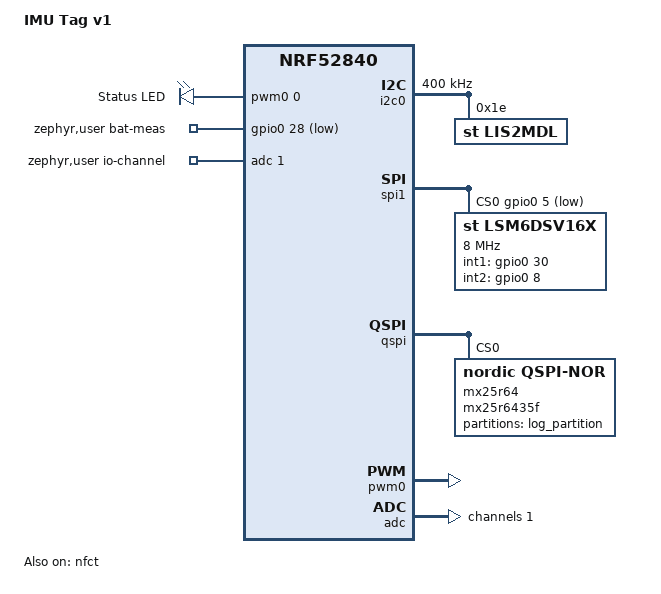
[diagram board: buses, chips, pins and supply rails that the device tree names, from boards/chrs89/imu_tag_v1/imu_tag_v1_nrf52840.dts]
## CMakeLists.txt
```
cmake_minimum_required(VERSION 3.20.0)

find_package(Zephyr REQUIRED HINTS $ENV{ZEPHYR_BASE})
project(imu_tag)

# Hidden float-to-double promotions cost software emulation on the M4F.
zephyr_compile_options(-Wdouble-promotion)

target_include_directories(app PRIVATE src)

target_sources(app PRIVATE
  src/main.c
  src/imu/imu_ext.c
  src/imu/imu_fifo.c
  src/imu/fifo_decode.c
  src/imu/mag_poll.c
  src/imu/imu_calibration.c
  src/imu/cal_fit.c
  src/fusion/madgwick.c
  src/fusion/orientation_service.c
  src/events/event_triggers.c
  src/pipeline/burst_processor.c
  src/pipeline/log_sink.c
  src/pipeline/fusion_sink.c
  src/app/app_wq.c
  src/app/app_config.c
  src/app/app_state.c
  src/status/stats.c
  src/dsp/dsp_accumulator.c
)
```

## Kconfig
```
menu "IMU Tag"

config IMU_TAG_DEBUG_COUNTERS
        bool "Log the acquisition counters every 5 s"
        default n
        help
          Bench instrument for the measurements page. The stats item logs
          the FIFO margin counters, the newest sample and the comparison
          of the two burst time anchors every 5 s.

endmenu

source "Kconfig.zephyr"
```

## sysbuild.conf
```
# Enables MCUboot bootloader for BLE OTA DFU.
SB_CONFIG_BOOTLOADER_MCUBOOT=y
```

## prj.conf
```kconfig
CONFIG_NCS_APPLICATION_BOOT_BANNER_STRING="IMU Tag showcase"

# Logging
CONFIG_LOG=y
CONFIG_LOG_MODE_DEFERRED=y
CONFIG_LOG_DEFAULT_LEVEL=2
CONFIG_CBPRINTF_FP_SUPPORT=y

# Use Segger RTT for console (no UART needed on custom board)
CONFIG_STDOUT_CONSOLE=y
CONFIG_UART_CONSOLE=n
CONFIG_USE_SEGGER_RTT=y
CONFIG_RTT_CONSOLE=y

# HW
CONFIG_HWINFO=y

# IMU (wiki chapter 8, ADR-004): the upstream driver probes the LSM6DSV16X at
# boot and brings in the ST HAL; imu_ext owns the registers afterwards.
# TRIGGER_NONE keeps the driver away from INT1 and INT2, which the
# application handles itself.
CONFIG_SPI=y
CONFIG_SENSOR=y
CONFIG_LSM6DSV16X=y
CONFIG_LSM6DSV16X_TRIGGER_NONE=y

# FPU (wiki chapter 10): hardware single-precision float with the hard-float
# ABI. Sharing is needed because more than one thread computes in float:
# burst_proc (orientation filter) and app_wq (magnetometer scaling,
# calibration).
CONFIG_FPU=y
CONFIG_FPU_SHARING=y

# Calibration store (wiki chapter 10): settings subsystem on NVS in the
# Partition Manager partition settings_storage. The LIS2MDL driver needs no
# line here: CONFIG_LIS2MDL defaults to y with the devicetree node.
CONFIG_FLASH=y
CONFIG_FLASH_MAP=y
CONFIG_NVS=y
CONFIG_SETTINGS=y
```

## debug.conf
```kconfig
# Thread analyzer overlay, chapter 3. Not part of the default build:
# west build -p -b imu_tag_v1/nrf52840 --sysbuild firmware -- "-DEXTRA_CONF_FILE=debug.conf"
CONFIG_THREAD_NAME=y
CONFIG_THREAD_MONITOR=y
CONFIG_INIT_STACKS=y
CONFIG_THREAD_STACK_INFO=y
CONFIG_THREAD_ANALYZER=y
CONFIG_THREAD_ANALYZER_USE_LOG=y
# Analyzer prints with LOG_INF; prj.conf's CONFIG_LOG_DEFAULT_LEVEL=2 would silence it.
CONFIG_THREAD_ANALYZER_LOG_LEVEL_INF=y
# The analyzer queues about twelve messages at once from main. The default
# 1024-byte log buffer drops the tail and the 768-byte logging stack sits
# at 68 % before them; both only in this overlay.
CONFIG_LOG_BUFFER_SIZE=4096
CONFIG_LOG_PROCESS_THREAD_STACK_SIZE=2048
# Enable debug counters for IMU tag
CONFIG_IMU_TAG_DEBUG_COUNTERS=y
# Chapter 5, M-05-2: DWT cycle counter for the stats handler timing.
CONFIG_TIMING_FUNCTIONS=y
# Chapter 8: shows the upstream driver's "chip id" line at boot.
CONFIG_SENSOR_LOG_LEVEL_INF=y
```

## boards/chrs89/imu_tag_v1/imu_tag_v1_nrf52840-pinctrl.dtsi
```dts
/*
 * Pin control definitions for IMU Tag v1 (E73-2G4M08S1C / nRF52840),
 * PCBA revision 1.1.0. Confirmed against the schematic and the Ebyte module
 * pin table.
 *
 * Pin map:
 *   SPI1  : SCK=P0.02  MOSI=P0.29  MISO=P0.31  CS(GPIO)=P0.05
 *   I2C0  : SDA=P0.07  SCL=P0.12
 *   QSPI  : SCK=P0.13  IO0=P0.24   IO1=P0.20   IO2=P0.22  IO3=P0.17  CSN=P0.15
 *   PWM0  : OUT0=P1.13 (status LED through R5)
 *   SAADC : AIN1=P0.03 (battery sense, analog input, not pin-muxed)
 *   UART0 : not wired on the PCB, no pinctrl states (&uart0 is disabled)
 *
 * Pins that are not pinctrl states: LSM6DSV16X INT1=P0.30, INT2=P0.08 (also
 * bonded to P1.09, the System OFF wake pin), GPIO_BAT_MEAS=P0.28. See the
 * board .dts for those.
 */

#include <dt-bindings/pinctrl/nrf-pinctrl.h>

&pinctrl {

	/* I2C0: LIS2MDL magnetometer. External 4.7 k pull-ups R16/R18 on the PCB. */
	i2c0_default: i2c0_default {
		group1 {
			psels = <NRF_PSEL(TWIM_SDA, 0, 7)>,    /* P0.07 */
			        <NRF_PSEL(TWIM_SCL, 0, 12)>;   /* P0.12 */
		};
	};
	i2c0_sleep: i2c0_sleep {
		group1 {
			psels = <NRF_PSEL(TWIM_SDA, 0, 7)>,
			        <NRF_PSEL(TWIM_SCL, 0, 12)>;
			low-power-enable;
		};
	};

	/* PWM0: status LED brightness control. */
	pwm0_default: pwm0_default {
		group1 {
			psels = <NRF_PSEL(PWM_OUT0, 1, 13)>;   /* P1.13 */
		};
	};
	pwm0_sleep: pwm0_sleep {
		group1 {
			psels = <NRF_PSEL(PWM_OUT0, 1, 13)>;
			low-power-enable;
		};
	};

	/* SPI1: LSM6DSV16X IMU. */
	spi1_default: spi1_default {
		group1 {
			psels = <NRF_PSEL(SPIM_SCK,  0, 2)>,   /* P0.02 */
			        <NRF_PSEL(SPIM_MOSI, 0, 29)>,  /* P0.29 */
			        <NRF_PSEL(SPIM_MISO, 0, 31)>;  /* P0.31 */
		};
	};
	spi1_sleep: spi1_sleep {
		group1 {
			psels = <NRF_PSEL(SPIM_SCK,  0, 2)>,
			        <NRF_PSEL(SPIM_MOSI, 0, 29)>,
			        <NRF_PSEL(SPIM_MISO, 0, 31)>;
			low-power-enable;
		};
	};

	/* QSPI: MX25R6435F NOR flash. */
	qspi_default: qspi_default {
		group1 {
			psels = <NRF_PSEL(QSPI_SCK, 0, 13)>,   /* P0.13 */
			        <NRF_PSEL(QSPI_IO0, 0, 24)>,    /* P0.24 */
			        <NRF_PSEL(QSPI_IO1, 0, 20)>,    /* P0.20 */
			        <NRF_PSEL(QSPI_IO2, 0, 22)>,    /* P0.22 */
			        <NRF_PSEL(QSPI_IO3, 0, 17)>,    /* P0.17 */
			        <NRF_PSEL(QSPI_CSN, 0, 15)>;    /* P0.15 */
		};
	};
	qspi_sleep: qspi_sleep {
		group1 {
			psels = <NRF_PSEL(QSPI_SCK, 0, 13)>,
			        <NRF_PSEL(QSPI_IO0, 0, 24)>,
			        <NRF_PSEL(QSPI_IO1, 0, 20)>,
			        <NRF_PSEL(QSPI_IO2, 0, 22)>,
			        <NRF_PSEL(QSPI_IO3, 0, 17)>,
			        <NRF_PSEL(QSPI_CSN, 0, 15)>;
			low-power-enable;
		};
	};
};
```

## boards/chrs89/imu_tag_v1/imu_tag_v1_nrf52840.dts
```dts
/*
 * Board DTS, IMU Tag v1, PCBA revision 1.1.0
 * Module : E73-2G4M08S1C (nRF52840QIAA)
 * Flash  : MX25R6435F (64 Mbit / 8 MB, QSPI)
 * IMU    : LSM6DSV16X (SPI1, INT1=P0.30, INT2=P0.08)
 * Mag    : LIS2MDL (I2C0)
 * NFC    : antenna on NFC1/NFC2 (P0.09/P0.10)
 */

/dts-v1/;
#include <nordic/nrf52840_qiaa.dtsi>
#include "imu_tag_v1_nrf52840-pinctrl.dtsi"
#include <zephyr/dt-bindings/pwm/pwm.h>
#include <zephyr/dt-bindings/adc/nrf-saadc.h>
#include <zephyr/dt-bindings/regulator/nrf5x.h>
#include <zephyr/dt-bindings/sensor/lsm6dsvxxx.h>

/ {
	model = "IMU Tag v1";
	compatible = "chrs89,imu-tag-v1";

	chosen {
		/*
		 * UART0 is not wired on the PCB. Console and shell go through
		 * Segger RTT (CONFIG_RTT_CONSOLE in prj.conf), so zephyr,console
		 * and zephyr,shell-uart are left unset.
		 */
		zephyr,sram           = &sram0;
		zephyr,flash          = &flash0;
		zephyr,flash-controller = &flash_controller;
		zephyr,code-partition = &slot0_partition;
		/* Nordic Partition Manager "external_flash" region. */
		nordic,pm-ext-flash   = &mx25r64;
	};

	/*
	 * Status LED on PWM0 channel 0 (P1.13 -> R5 -> D2 -> GND, active high).
	 * PWM instead of gpio-leds gives brightness control for fade patterns.
	 */
	pwmleds: pwmleds {
		compatible = "pwm-leds";
		led0_pwm: led_pwm_0 {
			pwms = <&pwm0 0 PWM_MSEC(20) PWM_POLARITY_NORMAL>;
			label = "Status LED";
		};
	};

	/*
	 * Battery sense, GPIO gated:
	 *   VBAT --R2 (820 k)-- BATTERY_PIN (AIN1/P0.03) --R3 (2 M)-- GPIO_BAT_MEAS (P0.28)
	 *   C1 (10 nF) from BATTERY_PIN to GND.
	 * GPIO_BAT_MEAS floats (input) while idle, so the divider draws no
	 * current; firmware drives it low only for the duration of a sample.
	 * Then BATTERY_PIN = VBAT x R3/(R2+R3) = 0.7092 x VBAT.
	 * R2 || R3 = 582 k, hence ADC_GAIN_1_6, internal reference and the
	 * longest acquisition time (40 us) on the channel below.
	 */
	zephyr,user {
		io-channels = <&adc 1>;
		bat-meas-gpios = <&gpio0 28 GPIO_ACTIVE_LOW>;
	};

	aliases {
		led0         = &led0_pwm;
		imu0         = &lsm6dsv16x;
		stream0      = &lsm6dsv16x;
		mag-sensor0  = &lis2mdl;
	};
};

/* UART0: P0.28/P0.29 are used as GPIO_BAT_MEAS and SPI1 MOSI on this PCBA. */
&uart0 { status = "disabled"; };

/*
 * REG1 (main core regulator) in DC/DC mode.
 *
 * Confirmed against the schematic: DCC -> 10 uH inductor -> VDD, with DEC4
 * and DEC6 tied together and commonly decoupled, the Nordic reference
 * wiring for REG1 DC/DC mode. REG0 (the HV stage, VDDH/DCCH/DECUSB) has no
 * inductor and keeps the SoC default.
 *
 * The hardware falls back to LDO on its own at very low load, so DC/DC
 * costs nothing in System OFF and only engages while the radio, the buses
 * or the CPU draw current.
 */
&reg1 {
	regulator-initial-mode = <NRF5X_REG_MODE_DCDC>;
};

/* I2C0: LIS2MDL magnetometer (SDA=P0.07, SCL=P0.12). */
&i2c0 {
	compatible = "nordic,nrf-twim";
	status = "okay";
	pinctrl-0 = <&i2c0_default>;
	pinctrl-1 = <&i2c0_sleep>;
	pinctrl-names = "default", "sleep";
	clock-frequency = <I2C_BITRATE_FAST>;
	/*
	 * twim_nrfx does not call pm_device_runtime_enable() itself. Opt in
	 * per node rather than through CONFIG_PM_DEVICE_RUNTIME_DEFAULT_ENABLE,
	 * which would also catch &gpio0/&gpio1 and break INT2 edge interrupt
	 * delivery (see the prj.conf comment).
	 */
	zephyr,pm-device-runtime-auto;

	lis2mdl: lis2mdl@1e {
		compatible = "st,lis2mdl";
		reg = <0x1e>;
		status = "okay";
	};
};

/* Unused buses. */
&i2c1   { status = "disabled"; };
&spi0   { status = "disabled"; };

/*
 * SPI1: LSM6DSV16X IMU (SCK=P0.02, MOSI=P0.29, MISO=P0.31, CS=P0.05).
 *
 * INT1 (P0.30) carries the FIFO watermark interrupt. INT2 (P0.08) carries
 * the event engine interrupts (tap, free-fall, motion) and is bonded to
 * P1.09 on this PCBA as the System OFF wake pin; P1.09 is left unclaimed
 * here on purpose.
 *
 * SPI1 is deliberately NOT opted into runtime power management, unlike
 * I2C0, QSPI and PWM0: the IMU FIFO runs continuously from boot until
 * System OFF and the bus is needed again within 33 ms of any idle moment.
 * Letting it auto-suspend during extended idle stalled the next FIFO read
 * on resume and starved the watchdog every 66 s (confirmed on device).
 */
&spi1 {
	compatible = "nordic,nrf-spim";
	status = "okay";
	pinctrl-0 = <&spi1_default>;
	pinctrl-1 = <&spi1_sleep>;
	pinctrl-names = "default", "sleep";
	cs-gpios = <&gpio0 5 GPIO_ACTIVE_LOW>;   /* P0.05 */

	lsm6dsv16x: lsm6dsv16x@0 {
		compatible = "st,lsm6dsv16x";
		reg = <0>;
		status = "okay";

		spi-max-frequency = <8000000>;
		spi-cpol;
		spi-cpha;   /* SPI mode 3 */

		int1-gpios = <&gpio0 30 GPIO_ACTIVE_HIGH>;   /* P0.30 */
		int2-gpios = <&gpio0 8 GPIO_ACTIVE_HIGH>;    /* P0.08 */
		/* drdy-pin = <1>: data-ready and FIFO interrupts routed to INT1. */
		drdy-pin = <1>;

		/*
		 * Boot-time defaults; the sample rate is changed at runtime by the
		 * firmware. Values use the binding macros from lsm6dsvxxx.h.
		 * accel-range is in g (binding: 2 = 2 g), gyro-range in dps.
		 */
		accel-odr              = <LSM6DSVXXX_DT_ODR_AT_240Hz>;
		accel-range            = <2>;   /* 2 g */
		gyro-odr               = <LSM6DSVXXX_DT_ODR_AT_240Hz>;
		gyro-range             = <4>;   /* 2000 dps */
		drdy-pulsed;
	};
};

/*
 * QSPI: MX25R6435F 8 MB NOR flash. nrf_qspi_nor reads the JEDEC ID at boot
 * and fails with -ENODEV on mismatch, so jedec-id must match the assembled
 * chip. jedec-id and sfdp-bfp are taken from Nordic's nrf52840dk_nrf52840.dts,
 * which assembles the same chip.
 */
&qspi {
	status = "okay";
	pinctrl-0 = <&qspi_default>;
	pinctrl-1 = <&qspi_sleep>;
	pinctrl-names = "default", "sleep";
	/* See &i2c0 above: nrf_qspi_nor does not self-enable runtime PM. */
	zephyr,pm-device-runtime-auto;

	mx25r64: mx25r6435f@0 {
		compatible = "nordic,qspi-nor";
		reg = <0>;
		sck-frequency = <8000000>;

		/* JEDEC ID: C2h = Macronix, 28h = MX25R, 17h = 64 Mbit */
		jedec-id = [c2 28 17];

		sfdp-bfp = [
			e5 20 f1 ff  ff ff ff 03  44 eb 08 6b  08 3b 04 bb
			ee ff ff ff  ff ff 00 ff  ff ff 00 ff  0c 20 0f 52
			10 d8 00 ff  23 72 f5 00  82 ed 04 cc  44 83 68 44
			30 b0 30 b0  f7 c4 d5 5c  00 be 29 ff  f0 d0 ff ff
		];

		size = <67108864>;    /* 64 Mbit in bits */
		has-dpd;
		/* MX25R6435F datasheet deep power-down timing. */
		t-enter-dpd = <10000>;  /* 10 us */
		t-exit-dpd  = <35000>;  /* 35 us */

		/* The whole chip as one partition; no firmware user yet. */
		partitions {
			compatible = "fixed-partitions";
			#address-cells = <1>;
			#size-cells = <1>;

			log_partition: partition@0 {
				label = "log_partition";
				reg = <0x000000 0x800000>;  /* 8 MB */
			};
		};
	};
};

/* GPIO */
&gpiote { status = "okay"; };
&gpio0  { status = "okay"; };
&gpio1  { status = "okay"; };

/* PWM0: status LED brightness control (OUT0 = P1.13). */
&pwm0 {
	status = "okay";
	pinctrl-0 = <&pwm0_default>;
	pinctrl-1 = <&pwm0_sleep>;
	pinctrl-names = "default", "sleep";
	/*
	 * See &i2c0 above: pwm_nrfx does not self-enable runtime PM. This is
	 * what makes the LED module's pm_device_runtime_get/put calls effective.
	 */
	zephyr,pm-device-runtime-auto;
};

/*
 * SAADC: battery voltage sense on AIN1 (P0.03), single ended, internal
 * 0.6 V reference with 1/6 gain = 3.6 V full scale. See zephyr,user above
 * for the divider.
 */
&adc {
	status = "okay";
	#address-cells = <1>;
	#size-cells = <0>;

	channel@1 {
		reg = <1>;
		zephyr,gain = "ADC_GAIN_1_6";
		zephyr,reference = "ADC_REF_INTERNAL";
		zephyr,acquisition-time = <ADC_ACQ_TIME(ADC_ACQ_TIME_MICROSECONDS, 40)>;
		zephyr,input-positive = <NRF_SAADC_AIN1>;
		zephyr,resolution = <12>;
	};
};

/*
 * NFCT: NFC wake-up and LE Secure Connections OOB pairing. The antenna is
 * on NFC1/NFC2 (P0.09/P0.10), which nothing else claims, so no UICR
 * pin-mode override is needed.
 */
&nfct   { status = "okay"; };

/* Internal flash partitions: MCUboot plus two image slots and settings. */
&flash0 {
	partitions {
		compatible = "fixed-partitions";
		#address-cells = <1>;
		#size-cells = <1>;

		boot_partition: partition@0 {
			label = "mcuboot";
			reg = <0x00000000 0x0000C000>;  /* 48 KB */
		};

		slot0_partition: partition@c000 {
			label = "image-0";
			reg = <0x0000C000 0x00076000>;  /* 472 KB */
		};

		slot1_partition: partition@82000 {
			label = "image-1";
			reg = <0x00082000 0x00076000>;  /* 472 KB */
		};

		storage_partition: partition@f8000 {
			label = "storage";
			reg = <0x000F8000 0x00008000>;  /* 32 KB */
		};
	};
};
```

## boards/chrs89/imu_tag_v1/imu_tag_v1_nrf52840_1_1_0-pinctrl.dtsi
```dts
/*
 * imu_tag_v1_nrf52840_1_1_0-pinctrl.dtsi
 *
 * Pin control definitions for PCBA revision 1.1.0 — confirmed against the
 * new schematic (E73-2G4M08S1C module pin table cross-referenced against
 * Ebyte's datasheet). This is a near-total re-route, not just the flash
 * chip's footprint — see imu_tag_v1_nrf52840_1_1_0.overlay for the full
 * revision-1.1.0 change set (this file only defines new pinctrl *states*;
 * the overlay re-points each peripheral node at them).
 *
 * Pin map, revision 1.1.0 (vs. 1.0.0 in imu_tag_v1_nrf52840-pinctrl.dtsi):
 *   SPI1  : SCK=P0.02  MOSI=P0.29  MISO=P0.31  CS(GPIO)=P0.05   [was P1.10/P1.11/P1.13/P0.03]
 *   I2C0  : SDA=P0.07  SCL=P0.12                                [was P1.04/P1.06]
 *   QSPI  : SCK=P0.13  IO0=P0.24   IO1=P0.20   IO2=P0.22  IO3=P0.17  CSN=P0.15
 *           (IO0/IO3 swapped vs. 1.0.0; SCK/IO1/IO2/CSN unchanged)
 *   PWM0  : OUT0=P1.13 (status LED)                             [was P0.07]
 *
 * LSM6DSV16X INT1 moves to P0.30 (was P1.00) — see &lsm6dsv16x override in
 * the overlay, not pinctrl (interrupt GPIOs aren't pin-muxed states).
 * INT2 stays P0.08, additionally dual-bonded to P1.09 on this PCB — P1.09
 * is deliberately NOT claimed by anything here; it's the System-OFF
 * SENSE wake pin handled directly in src/events/event_triggers.c
 * (s_int2_alt), independent of devicetree/pinctrl.
 *
 * Battery sense moves from AIN2/P0.04 to AIN1/P0.03, and adds a new
 * GPIO-gated divider enable (GPIO_BAT_MEAS/P0.28) — handled via the ADC
 * channel + zephyr,user overrides in the overlay, not pinctrl (SAADC
 * analog inputs and plain GPIO aren't pin-muxed either).
 *
 * BTN1 (P0.05 on 1.0.0) is removed on this revision — the pin is now
 * SPI1_CS. The `buttons`/`sw0` alias nodes are deleted for this revision
 * in the overlay.
 */

#include <dt-bindings/pinctrl/nrf-pinctrl.h>

&pinctrl {

	/* ── I2C0  — LIS2MDL magnetometer (SDA=P0.07, SCL=P0.12) ───────────── */
	i2c0_default_r110: i2c0_default_r110 {
		group1 {
			psels = <NRF_PSEL(TWIM_SDA, 0, 7)>,    /* P0.07 */
			        <NRF_PSEL(TWIM_SCL, 0, 12)>;   /* P0.12 */
		};
	};
	i2c0_sleep_r110: i2c0_sleep_r110 {
		group1 {
			psels = <NRF_PSEL(TWIM_SDA, 0, 7)>,
			        <NRF_PSEL(TWIM_SCL, 0, 12)>;
			low-power-enable;
		};
	};

	/* ── PWM0  — status LED brightness control (OUT0=P1.13) ────────────── */
	pwm0_default_r110: pwm0_default_r110 {
		group1 {
			psels = <NRF_PSEL(PWM_OUT0, 1, 13)>;   /* P1.13 */
		};
	};
	pwm0_sleep_r110: pwm0_sleep_r110 {
		group1 {
			psels = <NRF_PSEL(PWM_OUT0, 1, 13)>;
			low-power-enable;
		};
	};

	/* ── SPI1  — LSM6DSV16X IMU (SCK=P0.02, MOSI=P0.29, MISO=P0.31) ───── */
	spi1_default_r110: spi1_default_r110 {
		group1 {
			psels = <NRF_PSEL(SPIM_SCK,  0, 2)>,   /* P0.02 */
			        <NRF_PSEL(SPIM_MOSI, 0, 29)>,  /* P0.29 */
			        <NRF_PSEL(SPIM_MISO, 0, 31)>;  /* P0.31 */
		};
	};
	spi1_sleep_r110: spi1_sleep_r110 {
		group1 {
			psels = <NRF_PSEL(SPIM_SCK,  0, 2)>,
			        <NRF_PSEL(SPIM_MOSI, 0, 29)>,
			        <NRF_PSEL(SPIM_MISO, 0, 31)>;
			low-power-enable;
		};
	};

	/* ── QSPI  — MX25R6435F NOR flash. IO0/IO3 swapped vs. 1.0.0. ──────── */
	qspi_default_r110: qspi_default_r110 {
		group1 {
			psels = <NRF_PSEL(QSPI_SCK, 0, 13)>,   /* P0.13 — unchanged */
			        <NRF_PSEL(QSPI_IO0, 0, 24)>,    /* P0.24 — was IO3 on 1.0.0 */
			        <NRF_PSEL(QSPI_IO1, 0, 20)>,    /* P0.20 — unchanged */
			        <NRF_PSEL(QSPI_IO2, 0, 22)>,    /* P0.22 — unchanged */
			        <NRF_PSEL(QSPI_IO3, 0, 17)>,    /* P0.17 — was IO0 on 1.0.0 */
			        <NRF_PSEL(QSPI_CSN, 0, 15)>;    /* P0.15 — unchanged */
		};
	};
	qspi_sleep_r110: qspi_sleep_r110 {
		group1 {
			psels = <NRF_PSEL(QSPI_SCK, 0, 13)>,
			        <NRF_PSEL(QSPI_IO0, 0, 24)>,
			        <NRF_PSEL(QSPI_IO1, 0, 20)>,
			        <NRF_PSEL(QSPI_IO2, 0, 22)>,
			        <NRF_PSEL(QSPI_IO3, 0, 17)>,
			        <NRF_PSEL(QSPI_CSN, 0, 15)>;
			low-power-enable;
		};
	};
};
```

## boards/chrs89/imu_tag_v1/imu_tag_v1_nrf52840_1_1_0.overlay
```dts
/*
 * imu_tag_v1_nrf52840_1_1_0.overlay
 *
 * Board revision 1.1.0 — full PCBA re-layout, confirmed against the new
 * schematic and bring-up on two physical samples. NOT just a flash-chip
 * BOM swap as originally scoped: SPI1 (IMU), I2C0 (magnetometer), the LED,
 * two of the six QSPI lines, and the battery-sense circuit all moved to
 * different nRF52840 pins, and BTN1 was removed. See
 * imu_tag_v1_nrf52840_1_1_0-pinctrl.dtsi for the full old-vs-new pin table.
 *
 * Bring-up history: the first flash of this overlay (flash-node-only)
 * booted but left both the QSPI flash AND the SPI1 IMU reporting
 * "device not ready" on real hardware — `qspi_nor: JEDEC id [00 00 00]
 * expect [c2 28 17]` (i.e. the flash chip never responded at all, not a
 * wrong-chip mismatch). Root cause: the 1.0.0 pinctrl states were still in
 * effect, so the nRF52840 was toggling QSPI/SPI1 on pins that don't
 * connect to those chips on this PCBA. This revision now carries pinctrl
 * and peripheral-node overrides for every peripheral that actually moved.
 *
 * ── QSPI flash chip (BOM change, same as originally scoped) ────────────
 * PCBA rev 1.1.0 assembles an MX25R6435F (Macronix, Ultra Low Power
 * series) in place of the GD25Q64ESIG (GigaDevice) used on 1.0.0 — same
 * footprint, same pinout, same 64 Mbit / 8 MB QSPI NOR class. It is NOT
 * a drop-in devicetree swap: nrf_qspi_nor_init() (drivers/flash/
 * nrf_qspi_nor.c) reads the flash's live JEDEC ID at boot and returns
 * -ENODEV on mismatch, so `jedec-id` must match whichever chip is
 * actually assembled. Deep Power-Down timing also differs per datasheet.
 *
 * The 1.0.0 node (&gd25q64 in imu_tag_v1_nrf52840.dts) is deleted and
 * replaced wholesale rather than patched in place, so the devicetree for
 * this revision reads correctly as MX25R6435F end to end (name, label,
 * jedec-id, timing) instead of carrying a mismatched GD25Q64ESIG name
 * with patched-in Macronix values.
 *
 * `jedec-id` and `sfdp-bfp` below are taken verbatim from Nordic's own
 * nrf52840dk_nrf52840.dts, which assembles this exact chip — not
 * re-derived from the datasheet by hand.
 */

#include "imu_tag_v1_nrf52840_1_1_0-pinctrl.dtsi"

/delete-node/ &gd25q64;

&qspi {
	pinctrl-0 = <&qspi_default_r110>;
	pinctrl-1 = <&qspi_sleep_r110>;
	pinctrl-names = "default", "sleep";

	mx25r64: mx25r6435f@0 {
		compatible = "nordic,qspi-nor";
		reg = <0>;
		sck-frequency = <8000000>;

		/* JEDEC ID: C2h=Macronix  28h=MX25R  17h=64Mbit */
		jedec-id = [c2 28 17];

		sfdp-bfp = [
			e5 20 f1 ff  ff ff ff 03  44 eb 08 6b  08 3b 04 bb
			ee ff ff ff  ff ff 00 ff  ff ff 00 ff  0c 20 0f 52
			10 d8 00 ff  23 72 f5 00  82 ed 04 cc  44 83 68 44
			30 b0 30 b0  f7 c4 d5 5c  00 be 29 ff  f0 d0 ff ff
		];

		size = <67108864>;    /* 64 Mbit in bits */
		has-dpd;
		/* MX25R6435F datasheet — differs from GD25Q64ESIG's 3 us / 30 us
		 * (see the 1.0.0 node this replaces). */
		t-enter-dpd = <10000>;  /* 10 us */
		t-exit-dpd  = <35000>;  /* 35 us */

		/* Identical layout to the 1.0.0 node — same `log_partition`
		 * label so flog/CONFIG_FLOG_PARTITION_LABEL resolve unchanged
		 * regardless of which board revision is selected. */
		partitions {
			compatible = "fixed-partitions";
			#address-cells = <1>;
			#size-cells = <1>;

			log_partition: partition@0 {
				label = "log_partition";
				reg = <0x000000 0x800000>;  /* 8 MB — full QSPI NOR */
			};
		};
	};
};

/ {
	chosen {
		/* Re-point Nordic PM's "external_flash" region at the new node —
		 * &gd25q64 no longer exists on this revision. */
		nordic,pm-ext-flash = &mx25r64;
	};
};

/* ── SPI1 — LSM6DSV16X IMU (SCK=P0.02, MOSI=P0.29, MISO=P0.31, CS=P0.05) ──
 * All three bus pins and the GPIO chip-select moved; see the -pinctrl.dtsi
 * header comment for the full old-vs-new table. */
&spi1 {
	pinctrl-0 = <&spi1_default_r110>;
	pinctrl-1 = <&spi1_sleep_r110>;
	cs-gpios = <&gpio0 5 GPIO_ACTIVE_LOW>;   /* P0.05 — was P0.03 on 1.0.0 */
};

/* INT1 (FIFO watermark/DRDY) moves to P0.30 (was P1.00). INT2 stays P0.08
 * — unchanged, so no override needed for it — but is now additionally
 * dual-bonded to P1.09 on this PCB (per schematic); P1.09 is deliberately
 * left unclaimed by any pinctrl/peripheral node here. It's the System-OFF
 * SENSE wake pin, handled directly in src/events/event_triggers.c
 * (s_int2_alt = raw &gpio1 pin 9, independent of devicetree) — do not
 * assign P1.09 to anything else on this revision, or the System-OFF wake
 * path will conflict with whatever else drives it. */
&lsm6dsv16x {
	int1-gpios = <&gpio0 30 GPIO_ACTIVE_HIGH>;   /* P0.30 — was P1.00 */
};

/* ── I2C0 — LIS2MDL magnetometer (SDA=P0.07, SCL=P0.12) ─────────────────── */
&i2c0 {
	pinctrl-0 = <&i2c0_default_r110>;
	pinctrl-1 = <&i2c0_sleep_r110>;
};

/* ── PWM0 — status LED (OUT0=P1.13, was P0.07) ──────────────────────────── */
&pwm0 {
	pinctrl-0 = <&pwm0_default_r110>;
	pinctrl-1 = <&pwm0_sleep_r110>;
};

/*
 * ── Battery sense — moved from AIN2/P0.04 to AIN1/P0.03, and now
 * GPIO-gated for power savings (new on this revision; 1.0.0's divider was
 * always-on).
 *
 * VCC --R2(820K)-- BATTERY_PIN(AIN1/P0.03) --R3(2M)-- GPIO_BAT_MEAS(P0.28)
 * C1 (10 nF) from BATTERY_PIN to GND.
 *
 * Design intent (confirmed with hardware): GPIO_BAT_MEAS sits high-
 * impedance (GPIO_INPUT, floating) whenever a reading isn't in progress,
 * so the R2/R3 chain has no closed path to ground and draws ~0 quiescent
 * current during deep sleep. Only while actively sampling does firmware
 * drive it low (GPIO_OUTPUT, active-low), completing the divider so
 * BATTERY_PIN reads VBAT x R3/(R2+R3) ~= 0.7092 x VBAT — see
 * src/status/battery_monitor.c, which already had the correct 820K/2M
 * scaling constant (DIVIDER_NUM/DIVIDER_DEN) but not yet the GPIO
 * sequencing this revision requires; that's added alongside this overlay.
 *
 * R2 ‖ R3 ≈ 581.6 KΩ — essentially identical to 1.0.0's ≈581 KΩ, so the
 * existing ADC_GAIN_1_6 / ADC_REF_INTERNAL / 40 us acquisition-time
 * settings (sized for that Thevenin impedance) carry over unchanged.
 */
&adc {
	channel@1 {
		reg = <1>;
		zephyr,gain = "ADC_GAIN_1_6";
		zephyr,reference = "ADC_REF_INTERNAL";
		zephyr,acquisition-time = <ADC_ACQ_TIME(ADC_ACQ_TIME_MICROSECONDS, 40)>;
		zephyr,input-positive = <NRF_SAADC_AIN1>;
		zephyr,resolution = <12>;
	};
};

&{/zephyr,user} {
	io-channels = <&adc 1>;   /* was <&adc 2> on 1.0.0 */
	/* Idle state (GPIO_INPUT/Hi-Z) is established once in
	 * battery_monitor_init(); battery_work_fn() drives it low only for
	 * the duration of each sample. Absent entirely on 1.0.0 builds —
	 * battery_monitor.c uses GPIO_DT_SPEC_GET_OR() so the same source
	 * compiles for both revisions. */
	bat-meas-gpios = <&gpio0 28 GPIO_ACTIVE_LOW>;
};

/*
 * ── BTN1 removed on this revision — its old pin (P0.05) is now SPI1_CS.
 * No firmware references &button0/DT_ALIAS(sw0) today, so this is a pure
 * devicetree cleanup: dropping the alias avoids leaving a phandle to a
 * node that's about to be deleted, and dropping the node avoids
 * describing hardware that no longer exists on this PCBA.
 */
&{/aliases} {
	/delete-property/ sw0;
};

/delete-node/ &button0;
```

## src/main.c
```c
#include <zephyr/kernel.h>
#include <zephyr/device.h>
#include <zephyr/logging/log.h>
#include <zephyr/app_version.h>
#include <zephyr/drivers/hwinfo.h>
#include <zephyr/settings/settings.h>
#ifdef CONFIG_TIMING_FUNCTIONS
#include <zephyr/timing/timing.h>
#endif
#ifdef CONFIG_THREAD_ANALYZER
#include <zephyr/debug/thread_analyzer.h>
#endif


#include "app/app_wq.h"
#include "pipeline/burst_processor.h"
#include "imu/imu_ext.h"
#include "imu/imu_fifo.h"
#include "app/app_config.h"
#include "fusion/orientation_service.h"
#include "imu/imu_calibration.h"
#include "imu/mag_poll.h"
#include "pipeline/fusion_sink.h"
#include "pipeline/log_sink.h"
#include "status/stats.h"

LOG_MODULE_REGISTER(main, LOG_LEVEL_INF);

/* Boot line with the calibration in force: gyro bias in mdps, magnetometer
 * bias in tenths of a uT, scale times 1000. All zero and 1000 means defaults. */
static void log_calibration(void)
{
        struct imu_cal_values c;

        imu_cal_get_values(&c);
        LOG_INF("cal: gyro bias mdps %d %d %d, mag bias uT x10 %d %d %d, scale x1000 %d %d %d",
                (int)(c.gyro_bias[0] * 57295.78f), (int)(c.gyro_bias[1] * 57295.78f),
                (int)(c.gyro_bias[2] * 57295.78f), (int)(c.mag_bias[0] * 10.0f),
                (int)(c.mag_bias[1] * 10.0f), (int)(c.mag_bias[2] * 10.0f),
                (int)(c.mag_scale[0] * 1000.0f), (int)(c.mag_scale[1] * 1000.0f),
                (int)(c.mag_scale[2] * 1000.0f));
}

/* ---- Temporary bench hook (wiki chapters 9 and 10). Off by default:
 * BENCH_RUN_NONE compiles it out. It goes away when the command path of
 * chapter 12 can trigger the same calls (docs/BACKLOG.md). ----
 * Pick one run, build with debug.conf, flash, read the RTT log. The item runs
 * on app_wq, the only context that may change the configuration; the blocker
 * runs on the system work queue. Nothing happens before BENCH_START_S, so the
 * first stats lines show an untouched boot. */
#define BENCH_RUN_NONE        0
#define BENCH_RUN_960HZ       1 /* 960 Hz at BENCH_START_S */
#define BENCH_RUN_CAL         2 /* magnetometer run 30 s, save; gyro run at rest, save */
#define BENCH_RUN_6AXIS       3 /* fusion 6-axis at BENCH_START_S */
#define BENCH_RUN_RESET       4 /* filter to the identity at BENCH_START_S */
#define BENCH_RUN_BLOCK_100MS 5 /* 960 Hz, then one 100 ms block on sysworkq */
#define BENCH_RUN_BLOCK_600US 6 /* 960 Hz, then 600 us blocks every 7 ms on sysworkq */

#ifndef BENCH_RUN
#define BENCH_RUN BENCH_RUN_NONE
#endif
#define BENCH_START_S 20

#if BENCH_RUN != BENCH_RUN_NONE
static void bench_fn(struct k_work *work);
static K_WORK_DELAYABLE_DEFINE(s_bench, bench_fn);

#define BENCH_AT_960                                                                              \
	(BENCH_RUN == BENCH_RUN_960HZ || BENCH_RUN == BENCH_RUN_BLOCK_100MS ||                    \
	 BENCH_RUN == BENCH_RUN_BLOCK_600US)

#if BENCH_AT_960
static void bench_go_960(void)
{
        int rc = app_config_set_imu(960, 2);

        rc = (rc != 0) ? rc : imu_ext_set_odr(960);
        imu_fifo_mark_discontinuity();
        LOG_INF("bench: 960 Hz, rc %d", rc);
}
#endif

#if BENCH_RUN == BENCH_RUN_BLOCK_100MS || BENCH_RUN == BENCH_RUN_BLOCK_600US
static void bench_block_fn(struct k_work *work);
static K_WORK_DELAYABLE_DEFINE(s_bench_block, bench_block_fn);

/* Runs on the system work queue (cooperative): holds every thread off. */
static void bench_block_fn(struct k_work *work)
{
        ARG_UNUSED(work);
#if BENCH_RUN == BENCH_RUN_BLOCK_100MS
        k_busy_wait(100000);
        LOG_INF("bench: 100 ms block done");
#else
        k_busy_wait(600);
        k_work_schedule(&s_bench_block, K_MSEC(7));
#endif
}
#endif

/* Runs on app_wq. step counts the calls; each case arms the next one. */
static void bench_fn(struct k_work *work)
{
        static int step;
        int next_s = 0;

        ARG_UNUSED(work);
#if BENCH_RUN == BENCH_RUN_960HZ
        if (step == 0) {
                bench_go_960();
        }
#elif BENCH_RUN == BENCH_RUN_BLOCK_100MS || BENCH_RUN == BENCH_RUN_BLOCK_600US
        if (step == 0) {
                bench_go_960();
                next_s = 20;
        } else if (step == 1) {
                LOG_INF("bench: blocker starts");
                k_work_schedule(&s_bench_block, K_NO_WAIT);
        }
#elif BENCH_RUN == BENCH_RUN_CAL
        int rc;

        if (step == 0) {
                imu_cal_mag_start();
                LOG_INF("bench: mag run started, turn the tag through all orientations for 30 s");
                next_s = 30;
        } else if (step == 1) {
                rc = imu_cal_mag_finish();
                LOG_INF("bench: mag finish rc %d", rc);
                if (rc == 0) {
                        /* New values move the field direction: align again
                         * instead of converging to the new heading. */
                        orientation_service_request_reset();
                }
                rc = imu_cal_mag_save();
                LOG_INF("bench: mag save rc %d; put the tag down, gyro run in 10 s", rc);
                next_s = 10;
        } else if (step == 2) {
                imu_cal_gyro_start();
                LOG_INF("bench: gyro run started, keep the tag at rest");
                next_s = 3;
        } else if (step == 3) {
                rc = imu_cal_gyro_save();
                LOG_INF("bench: gyro state %d (2 done, 3 moved), save rc %d",
                        (int)imu_cal_gyro_state(), rc);
                log_calibration();
        }
#elif BENCH_RUN == BENCH_RUN_6AXIS
        if (step == 0) {
                const int rc = app_config_set_fusion(FUSION_MODE_6AXIS, 100);

                fusion_sink_config_changed();
                LOG_INF("bench: fusion 6-axis, rc %d", rc);
        }
#elif BENCH_RUN == BENCH_RUN_RESET
        if (step == 0) {
                /* identity, not a re-alignment: the correction rate shows (M-10-5) */
                orientation_service_request_identity();
                LOG_INF("bench: filter set to the identity");
        }
#endif
        step++;
        if (next_s > 0) {
                k_work_schedule_for_queue(app_wq_get(), &s_bench, K_SECONDS(next_s));
        }
}
#endif /* BENCH_RUN != BENCH_RUN_NONE */
/* ---- end of the temporary bench hook ---- */

/* Main thread. Logs version and reset cause, starts the modules, then idles.
 * stas.c logs the counters every 5000 ms */
int main(void)
{
        uint32_t cause = 0;
        app_config_t cfg;
        int rc = hwinfo_get_reset_cause(&cause);



        if (rc != 0) {
                LOG_WRN("reset cause unavailable: %d", rc);
        }
        LOG_INF("IMU Tag showcase %s, reset cause 0x%08x", APP_VERSION_STRING, cause);

#ifdef CONFIG_TIMING_FUNCTIONS
        /* Debug build only: the cycle counter every timing hook reads. */
        timing_init();
        timing_start();
#endif

        app_wq_init();
        stats_init();

        /* Calibration values, before the first sample reaches the filter. The
         * handler is static, so only the load order matters here. */
        rc = settings_subsys_init();
        if (rc == 0) {
                rc = settings_load_subtree("imu_tag/cal");
        }
        if (rc != 0) {
                LOG_ERR("calibration not loaded: %d", rc);
        }
        log_calibration();

        /* Boot health check: the upstream driver probed the chip before main(). */
        if (!device_is_ready(DEVICE_DT_GET(DT_ALIAS(imu0)))) {
                LOG_ERR("LSM6DSV16X driver not ready");
        }
        rc = imu_ext_init();
        if (rc != 0) {
                LOG_ERR("imu_ext_init failed: %d", rc);
        } else {
                LOG_INF("imu_ext_init returned 0");
        }

        rc = mag_poll_init();
        if (rc != 0) {
                LOG_ERR("mag_poll_init failed: %d", rc);
        }

        /* Sinks first: the table is read-only once the thread exists. */
        rc = burst_processor_register_sink(fusion_sink);
        if (rc != 0) {
                LOG_ERR("fusion sink not registered: %d", rc);
        }
        rc = burst_processor_register_sink(log_sink);
        if (rc != 0) {
                LOG_ERR("log sink not registered: %d", rc);
        }
        rc = burst_processor_init();
        if (rc != 0) {
                LOG_ERR("burst processor init failed: %d", rc);
        }

        /* Starts the FIFO; from here on INT1 wakes the burst thread. */
        app_config_snapshot(&cfg);
        rc = imu_fifo_init((uint16_t)cfg.acq_profile);
        if (rc != 0) {
                LOG_ERR("imu_fifo_init failed: %d", rc);
        } else {
                LOG_INF("imu_fifo_init returned 0");
        }

#if BENCH_RUN != BENCH_RUN_NONE
        LOG_WRN("bench run %d armed, starts at %d s", BENCH_RUN, BENCH_START_S);
        k_work_schedule_for_queue(app_wq_get(), &s_bench, K_SECONDS(BENCH_START_S));
#endif

#ifdef CONFIG_THREAD_ANALYZER
        /* Debug build only (-DEXTRA_CONF_FILE=debug.conf): stack baseline, chapter 3. */
        k_sleep(K_SECONDS(5));
        thread_analyzer_print(0);
#if BENCH_RUN != BENCH_RUN_NONE
        /* Temporary, with the bench hook: stacks again once the run has settled. */
        k_sleep(K_SECONDS(BENCH_START_S + 55));
        thread_analyzer_print(0);
#endif
#endif


        k_sleep(K_FOREVER);


        return 0;
}
```
